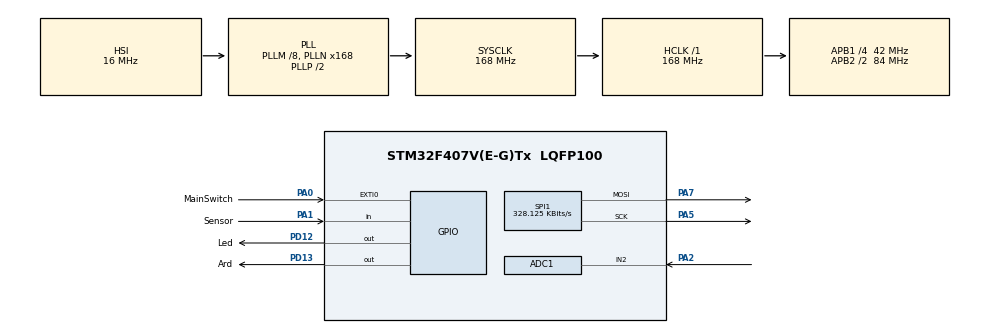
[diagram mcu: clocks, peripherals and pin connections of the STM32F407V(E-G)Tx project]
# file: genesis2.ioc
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ADC1.Channel-1\#ChannelRegularConversion=ADC_CHANNEL_2
ADC1.NbrOfConversionFlag=1
ADC1.Rank-1\#ChannelRegularConversion=1
ADC1.Resolution=ADC_RESOLUTION_10B
ADC1.SamplingTime-1\#ChannelRegularConversion=ADC_SAMPLETIME_28CYCLES
ADC1.master=1
Mcu.Family=STM32F4
Mcu.Name=STM32F407V(E-G)Tx
Mcu.Package=LQFP100
NVIC.EXTI0_IRQn=true\:0\:0\:false\:false\:true\:true\:true
NVIC.PriorityGroup=NVIC_PRIORITYGROUP_0
PA0-WKUP.GPIO_Label=MainSwitch
PA0-WKUP.Signal=GPXTI0
PA1.GPIO_Label=Sensor
PA1.Signal=GPIO_Input
PA13.Mode=Serial_Wire
PA13.Signal=SYS_JTMS-SWDIO
PA14.Mode=Serial_Wire
PA14.Signal=SYS_JTCK-SWCLK
PA2.Signal=ADCx_IN2
PA5.Mode=TX_Only_Simplex_Unidirect_Master
PA5.Signal=SPI1_SCK
PA7.Mode=TX_Only_Simplex_Unidirect_Master
PA7.Signal=SPI1_MOSI
PD12.GPIO_Label=Led
PD12.Signal=GPIO_Output
PD13.GPIO_Label=Ard
PD13.Signal=GPIO_Output
ProjectManager.HeapSize=0x200
ProjectManager.StackSize=0x400
ProjectManager.TargetToolchain=STM32CubeIDE
RCC.48MHZClocksFreq_Value=48000000
RCC.AHBFreq_Value=168000000
RCC.APB1CLKDivider=RCC_HCLK_DIV4
RCC.APB1Freq_Value=42000000
RCC.APB1TimFreq_Value=84000000
RCC.APB2CLKDivider=RCC_HCLK_DIV2
RCC.APB2Freq_Value=84000000
RCC.APB2TimFreq_Value=168000000
RCC.CortexFreq_Value=168000000
RCC.HCLKFreq_Value=168000000
RCC.HSE_VALUE=8000000
RCC.HSI_VALUE=16000000
RCC.LSE_VALUE=32768
RCC.PLLM=8
RCC.PLLN=168
RCC.PLLQ=7
RCC.SYSCLKFreq_VALUE=168000000
RCC.SYSCLKSource=RCC_SYSCLKSOURCE_PLLCLK
RCC.VCOOutputFreq_Value=336000000
SH.ADCx_IN2.0=ADC1_IN2,IN2
SPI1.BaudRatePrescaler=SPI_BAUDRATEPRESCALER_256
SPI1.CalculateBaudRate=328.125 KBits/s
SPI1.Direction=SPI_DIRECTION_2LINES
SPI1.Mode=SPI_MODE_MASTER
SPI1.VirtualType=VM_MASTER
board=STM32F407G-DISC1

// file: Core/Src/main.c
/* USER CODE BEGIN Header */
/**
  ******************************************************************************
  * @file           : main.c
  * @brief          : Main program body
  ******************************************************************************
  * @attention
  *
  * <h2><center>&copy; Copyright (c) 2020 STMicroelectronics.
  * All rights reserved.</center></h2>
  *
  * This software component is licensed by ST under Ultimate Liberty license
  * SLA0044, the "License"; You may not use this file except in compliance with
  * the License. You may obtain a copy of the License at:
  *                             www.st.com/SLA0044
  *
  ******************************************************************************
  */
/* USER CODE END Header */
#include "main.h"

/* USER CODE BEGIN Includes */
#include <stdio.h>
#include <functions.h>
/* USER CODE END Includes */

/* USER CODE BEGIN PM */
#define TV   500
/* USER CODE END PM */

ADC_HandleTypeDef pth;

SPI_HandleTypeDef spch;

void SystemClock_Config(void);
static void MX_GPIO_Init(void);
static void MX_ADC1_Init(void);
static void MX_SPI1_Init(void);
/* USER CODE BEGIN PFP */
volatile uint8_t FLAG=0;
volatile uint16_t PV=0;
/* USER CODE END PFP */

void HAL_GPIO_EXTI_Callback(uint16_t GPIO_Pin)
{
	FLAG^=1;
}

int main(void)
{
  /* USER CODE BEGIN 1 */
	uint8_t S;
  /* USER CODE END 1 */

  /* MCU Configuration--------------------------------------------------------*/

  /* Reset of all peripherals, Initializes the Flash interface and the Systick. */
  HAL_Init();

  /* Configure the system clock */
  SystemClock_Config();

  /* Initialize all configured peripherals */
  MX_GPIO_Init();
  MX_ADC1_Init();
  MX_SPI1_Init();

  /* Infinite loop */
  while (1)
  {

    /* USER CODE BEGIN 3 */
	  if(FLAG==1)
	  {
		 HAL_Delay(10);
		 sysbegin(FLAG);
		 PV = AdcRead(pth);
		 if(PV>TV)
		  {
		 		while(HAL_GPIO_ReadPin(Sensor_GPIO_Port, Sensor_Pin))
		 		{
		 			HAL_GPIO_WritePin(Ard_GPIO_Port, Ard_Pin, 1);

		 			S=1;
		 			HAL_SPI_Transmit(&spch, &S, 1, 50);
			    }
                    HAL_GPIO_WritePin(Ard_GPIO_Port, Ard_Pin, 0);

                    S=0;
                    HAL_SPI_Transmit(&spch, &S, 1, 50);
	      }
		 else
		  {

			 S=2;
			 HAL_SPI_Transmit(&spch, &S, 1, 50);
		  }
	  }
  }
  /* USER CODE END 3 */
}

void SystemClock_Config(void)
{
  RCC_OscInitTypeDef RCC_OscInitStruct = {0};
  RCC_ClkInitTypeDef RCC_ClkInitStruct = {0};

  /** Configure the main internal regulator output voltage
  */
  __HAL_RCC_PWR_CLK_ENABLE();
  __HAL_PWR_VOLTAGESCALING_CONFIG(PWR_REGULATOR_VOLTAGE_SCALE1);
  /** Initializes the RCC Oscillators according to the specified parameters
  * in the RCC_OscInitTypeDef structure.
  */
  RCC_OscInitStruct.OscillatorType = RCC_OSCILLATORTYPE_HSI;
  RCC_OscInitStruct.HSIState = RCC_HSI_ON;
  RCC_OscInitStruct.HSICalibrationValue = RCC_HSICALIBRATION_DEFAULT;
  RCC_OscInitStruct.PLL.PLLState = RCC_PLL_ON;
  RCC_OscInitStruct.PLL.PLLSource = RCC_PLLSOURCE_HSI;
  RCC_OscInitStruct.PLL.PLLM = 8;
  RCC_OscInitStruct.PLL.PLLN = 168;
  RCC_OscInitStruct.PLL.PLLP = RCC_PLLP_DIV2;
  RCC_OscInitStruct.PLL.PLLQ = 7;
  if (HAL_RCC_OscConfig(&RCC_OscInitStruct) != HAL_OK)
  {
    Error_Handler();
  }
  /** Initializes the CPU, AHB and APB buses clocks
  */
  RCC_ClkInitStruct.ClockType = RCC_CLOCKTYPE_HCLK|RCC_CLOCKTYPE_SYSCLK
                              |RCC_CLOCKTYPE_PCLK1|RCC_CLOCKTYPE_PCLK2;
  RCC_ClkInitStruct.SYSCLKSource = RCC_SYSCLKSOURCE_PLLCLK;
  RCC_ClkInitStruct.AHBCLKDivider = RCC_SYSCLK_DIV1;
  RCC_ClkInitStruct.APB1CLKDivider = RCC_HCLK_DIV4;
  RCC_ClkInitStruct.APB2CLKDivider = RCC_HCLK_DIV2;

  if (HAL_RCC_ClockConfig(&RCC_ClkInitStruct, FLASH_LATENCY_5) != HAL_OK)
  {
    Error_Handler();
  }
}

static void MX_ADC1_Init(void)
{

  ADC_ChannelConfTypeDef sConfig = {0};

  /** Configure the global features of the ADC (Clock, Resolution, Data Alignment and number of conversion)
  */
  pth.Instance = ADC1;
  pth.Init.ClockPrescaler = ADC_CLOCK_SYNC_PCLK_DIV4;
  pth.Init.Resolution = ADC_RESOLUTION_10B;
  pth.Init.ScanConvMode = DISABLE;
  pth.Init.ContinuousConvMode = DISABLE;
  pth.Init.DiscontinuousConvMode = DISABLE;
  pth.Init.ExternalTrigConvEdge = ADC_EXTERNALTRIGCONVEDGE_NONE;
  pth.Init.ExternalTrigConv = ADC_SOFTWARE_START;
  pth.Init.DataAlign = ADC_DATAALIGN_RIGHT;
  pth.Init.NbrOfConversion = 1;
  pth.Init.DMAContinuousRequests = DISABLE;
  pth.Init.EOCSelection = ADC_EOC_SINGLE_CONV;
  if (HAL_ADC_Init(&pth) != HAL_OK)
  {
    Error_Handler();
  }
  /** Configure for the selected ADC regular channel its corresponding rank in the sequencer and its sample time.
  */
  sConfig.Channel = ADC_CHANNEL_2;
  sConfig.Rank = 1;
  sConfig.SamplingTime = ADC_SAMPLETIME_28CYCLES;
  if (HAL_ADC_ConfigChannel(&pth, &sConfig) != HAL_OK)
  {
    Error_Handler();
  }

}

static void MX_SPI1_Init(void)
{

  /* SPI1 parameter configuration*/
	spch.Instance = SPI1;
	spch.Init.Mode = SPI_MODE_MASTER;
	spch.Init.Direction = SPI_DIRECTION_2LINES;
	spch.Init.DataSize = SPI_DATASIZE_8BIT;
	spch.Init.CLKPolarity = SPI_POLARITY_LOW;
	spch.Init.CLKPhase = SPI_PHASE_1EDGE;
	spch.Init.NSS = SPI_NSS_SOFT;
	spch.Init.BaudRatePrescaler = SPI_BAUDRATEPRESCALER_256;
	spch.Init.FirstBit = SPI_FIRSTBIT_MSB;
	spch.Init.TIMode = SPI_TIMODE_DISABLE;
	spch.Init.CRCCalculation = SPI_CRCCALCULATION_DISABLE;
	spch.Init.CRCPolynomial = 10;
  if (HAL_SPI_Init(&spch) != HAL_OK)
  {
    Error_Handler();
  }

}

static void MX_GPIO_Init(void)
{
  GPIO_InitTypeDef GPIO_InitStruct = {0};

  /* GPIO Ports Clock Enable */
  __HAL_RCC_GPIOA_CLK_ENABLE();
  __HAL_RCC_GPIOD_CLK_ENABLE();

  /*Configure GPIO pin Output Level */
  HAL_GPIO_WritePin(GPIOD, Led_Pin|Ard_Pin, GPIO_PIN_RESET);

  /*Configure GPIO pin : MainSwitch_Pin */
  GPIO_InitStruct.Pin = MainSwitch_Pin;
  GPIO_InitStruct.Mode = GPIO_MODE_IT_RISING;
  GPIO_InitStruct.Pull = GPIO_NOPULL;
  HAL_GPIO_Init(MainSwitch_GPIO_Port, &GPIO_InitStruct);

  /*Configure GPIO pin : Sensor_Pin */
  GPIO_InitStruct.Pin = Sensor_Pin;
  GPIO_InitStruct.Mode = GPIO_MODE_INPUT;
  GPIO_InitStruct.Pull = GPIO_NOPULL;
  HAL_GPIO_Init(Sensor_GPIO_Port, &GPIO_InitStruct);

  /*Configure GPIO pins : Led_Pin Ard_Pin */
  GPIO_InitStruct.Pin = Led_Pin|Ard_Pin;
  GPIO_InitStruct.Mode = GPIO_MODE_OUTPUT_PP;
  GPIO_InitStruct.Pull = GPIO_NOPULL;
  GPIO_InitStruct.Speed = GPIO_SPEED_FREQ_LOW;
  HAL_GPIO_Init(GPIOD, &GPIO_InitStruct);

  /* EXTI interrupt init*/
  HAL_NVIC_SetPriority(EXTI0_IRQn, 0, 0);
  HAL_NVIC_EnableIRQ(EXTI0_IRQn);

}

void Error_Handler(void)
{
}

/************************ (C) COPYRIGHT STMicroelectronics *****END OF FILE****/
